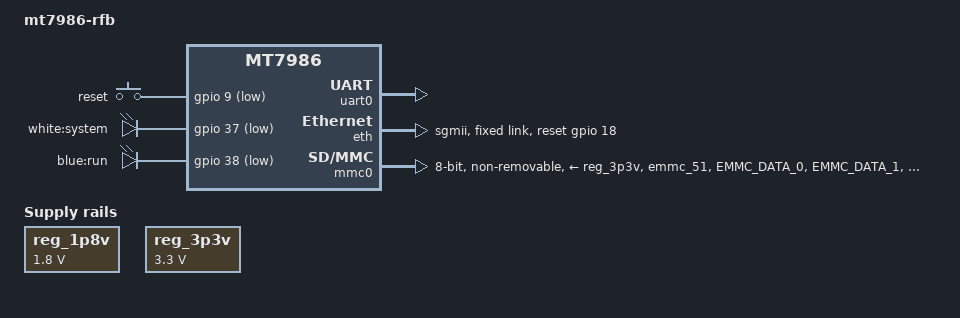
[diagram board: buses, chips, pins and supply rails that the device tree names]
/dts-v1/;
#include "mt7986.dtsi"
#include <dt-bindings/gpio/gpio.h>

/ {
	#address-cells = <1>;
	#size-cells = <1>;
	model = "mt7986-rfb";
	compatible = "mediatek,mt7986", "mediatek,mt7986-rfb";

	chosen {
		stdout-path = &uart0;
		tick-timer = &timer0;
	};
	
	config {
		bootcmd = "mtkboardboot";
 		
		blink_led = "blue:run";
		system_led = "white:system";

		environment {
			lu = "mtkupgrade fip uboot-gl-mt6000.bin";
			lf = "mtkupgrade fw openwrt-gl-mt6000.bin";
		};
	};

	gpio-keys-polled {
		compatible = "gpio-keys";
	
		power-button {
			label = "reset";
			gpios = <&gpio 9 GPIO_ACTIVE_LOW>;
		};
	};

	leds {
		compatible = "gpio-leds";

		led@0 {
			label = "white:system";
			gpios = <&gpio 37 GPIO_ACTIVE_LOW>;
		};
		
		led@1 {
			label = "blue:run";
			gpios = <&gpio 38 GPIO_ACTIVE_LOW>;
		};
	};

	reg_1p8v: regulator-1p8v {
		compatible = "regulator-fixed";
		regulator-name = "fixed-1.8V";
		regulator-min-microvolt = <1800000>;
		regulator-max-microvolt = <1800000>;
		regulator-boot-on;
		regulator-always-on;
	};

	reg_3p3v: regulator-3p3v {
		compatible = "regulator-fixed";
		regulator-name = "fixed-3.3V";
		regulator-min-microvolt = <3300000>;
		regulator-max-microvolt = <3300000>;
		regulator-boot-on;
		regulator-always-on;
	};
};

&uart0 {
	status = "okay";
};

&eth {
	status = "okay";
	mediatek,gmac-id = <0>;
	phy-mode = "sgmii";
	mediatek,switch = "mt7531";
	reset-gpios = <&gpio 18 GPIO_ACTIVE_HIGH>;

	fixed-link {
		speed = <1000>;
		full-duplex;
	};
};

&pinctrl {
	mmc0_pins_default: mmc0default {
		mux {
			function = "flash";
			groups =  "emmc_51";
		};

		conf-cmd-dat {
			pins = "EMMC_DATA_0", "EMMC_DATA_1", "EMMC_DATA_2",
			       "EMMC_DATA_3", "EMMC_DATA_4", "EMMC_DATA_5",
			       "EMMC_DATA_6", "EMMC_DATA_7", "EMMC_CMD";
			input-enable;
			drive-strength = <MTK_DRIVE_4mA>;
			bias-pull-up = <MTK_PUPD_SET_R1R0_01>;
		};

		conf-clk {
			pins = "EMMC_CK";
			drive-strength = <MTK_DRIVE_6mA>;
			bias-pull-down = <MTK_PUPD_SET_R1R0_10>;
		};

		conf-dsl {
			pins = "EMMC_DSL";
			bias-pull-down = <MTK_PUPD_SET_R1R0_10>;
		};

		conf-rst {
			pins = "EMMC_RSTB";
			drive-strength = <MTK_DRIVE_4mA>;
			bias-pull-up = <MTK_PUPD_SET_R1R0_01>;
		};
	};
};

&mmc0 {
	pinctrl-names = "default";
	pinctrl-0 = <&mmc0_pins_default>;
	bus-width = <8>;
	max-frequency = <52000000>;
	cap-mmc-highspeed;
	cap-mmc-hw-reset;
	vmmc-supply = <&reg_3p3v>;
	vqmmc-supply = <&reg_1p8v>;
	non-removable;
	status = "okay";
};
